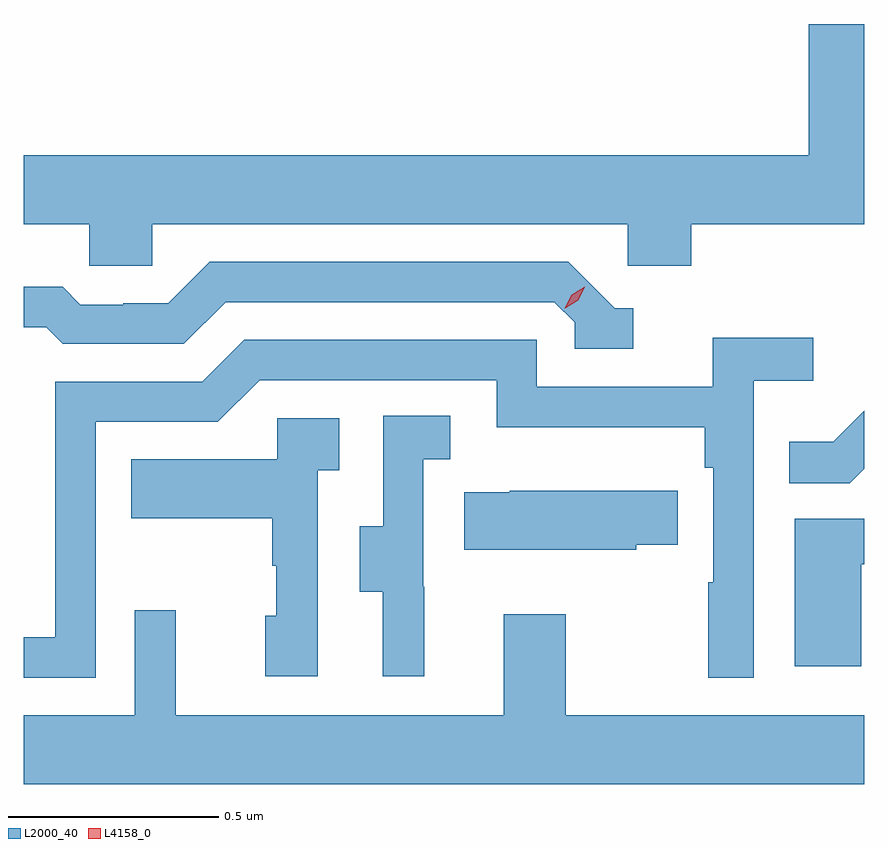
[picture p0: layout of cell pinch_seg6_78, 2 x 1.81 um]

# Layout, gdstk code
import gdstk
lib = gdstk.Library(unit=1e-6, precision=1e-09)
def P(c, l, *ps):  # polygons
    for p in ps: c.add(gdstk.Polygon(p, *l))
L2000_40 = (2000, 40)
L4158_0 = (4158, 0)

pinch_seg6_78 = lib.new_cell('pinch_seg6_78')
P(pinch_seg6_78, L2000_40, [(927.939,924.692),(929.07,924.692),(929.07,924.594),(929.222,924.594),(929.222,924.692),(929.633,924.692),(929.633,925.169),(929.501,925.169),(929.501,924.856),(927.633,924.856),(927.633,924.692),(927.789,924.692),(927.789,924.594),(927.939,924.594)],
  [(929.083,924.492),(929.04,924.492),(928.929,924.603),(928.076,924.603),(927.977,924.504),(927.87,924.504),(927.87,924.501),(927.767,924.501),(927.725,924.544),(927.633,924.544),(927.633,924.447),(927.686,924.447),(927.725,924.408),(928.014,924.408),(928.113,924.507),(928.896,924.507),(928.944,924.459),(928.944,924.396),(929.083,924.396)],
  [(927.804,924.222),(928.095,924.222),(928.194,924.321),(928.758,924.321),(928.758,924.209),(929.254,924.209),(929.254,924.113),(929.274,924.113),(929.274,923.84),(929.262,923.84),(929.262,923.613),(929.37,923.613),(929.37,924.32),(929.512,924.32),(929.512,924.422),(929.273,924.422),(929.273,924.306),(928.854,924.306),(928.854,924.417),(928.157,924.417),(928.058,924.318),(927.708,924.318),(927.708,923.709),(927.633,923.709),(927.633,923.613),(927.804,923.613)],
  [(929.633,924.11),(929.633,924.249),(929.559,924.175),(929.455,924.175),(929.455,924.076),(929.599,924.076)],
  [(928.586,923.829),(928.584,923.829),(928.584,924.133),(928.648,924.133),(928.648,924.236),(928.488,924.236),(928.488,923.973),(928.433,923.973),(928.433,923.818),(928.487,923.818),(928.487,923.616),(928.586,923.616)],
  [(928.332,924.107),(928.384,924.107),(928.384,924.231),(928.236,924.231),(928.236,924.133),(927.889,924.133),(927.889,923.993),(928.224,923.993),(928.224,923.879),(928.234,923.879),(928.234,923.76),(928.208,923.76),(928.208,923.616),(928.332,923.616)],
  [(929.091,923.929),(929.189,923.929),(929.189,924.058),(928.789,924.058),(928.789,924.055),(928.681,924.055),(928.681,923.918),(929.091,923.918)],
  [(929.626,923.883),(929.633,923.883),(929.633,923.991),(929.468,923.991),(929.468,923.64),(929.626,923.64)],
  [(929.633,923.524),(928.923,923.524),(928.923,923.764),(928.775,923.764),(928.775,923.524),(927.995,923.524),(927.995,923.773),(927.897,923.773),(927.897,923.524),(927.633,923.524),(927.633,923.36),(929.633,923.36)])
P(pinch_seg6_78, L4158_0, [(928.921,924.492),(928.921,924.492),(928.937,924.524),(928.968,924.544),(928.968,924.544),(928.968,924.544),(928.952,924.511),(928.922,924.492)])

lib.write_gds('pinch_seg6_78.gds')
